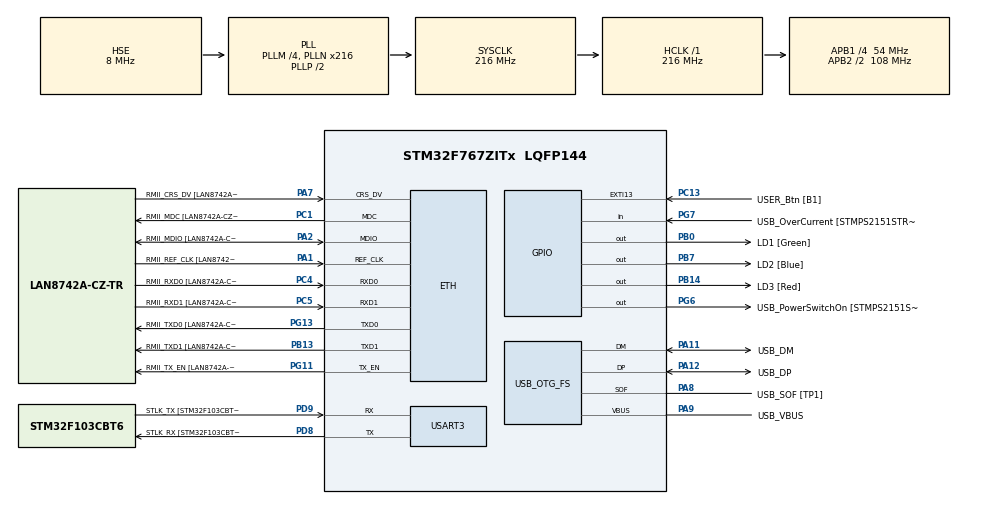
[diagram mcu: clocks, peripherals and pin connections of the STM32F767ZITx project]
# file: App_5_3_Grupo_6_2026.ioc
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CORTEX_M7.default_mode_Activation=1
ETH.MediaInterface=HAL_ETH_RMII_MODE
ETH.PHY_Name=LAN8742A_PHY_ADDRESS
ETH.PHY_Value=0
ETH.PhyAddress=0
Mcu.Family=STM32F7
Mcu.Name=STM32F767ZITx
Mcu.Package=LQFP144
NVIC.PriorityGroup=NVIC_PRIORITYGROUP_4
PA1.GPIO_Label=RMII_REF_CLK [LAN8742A-CZ-TR_REFCLK0]
PA1.Mode=RMII
PA1.Signal=ETH_REF_CLK
PA10.GPIO_Label=USB_ID
PA10.Signal=USB_OTG_FS_ID
PA11.GPIO_Label=USB_DM
PA11.Mode=Device_Only
PA11.Signal=USB_OTG_FS_DM
PA12.GPIO_Label=USB_DP
PA12.Mode=Device_Only
PA12.Signal=USB_OTG_FS_DP
PA13.GPIO_Label=TMS
PA13.Mode=Serial_Wire
PA13.Signal=SYS_JTMS-SWDIO
PA14.GPIO_Label=TCK
PA14.Mode=Serial_Wire
PA14.Signal=SYS_JTCK-SWCLK
PA2.GPIO_Label=RMII_MDIO [LAN8742A-CZ-TR_MDIO]
PA2.Mode=RMII
PA2.Signal=ETH_MDIO
PA7.GPIO_Label=RMII_CRS_DV [LAN8742A-CZ-TR_CRS_DV]
PA7.Mode=RMII
PA7.Signal=ETH_CRS_DV
PA8.GPIO_Label=USB_SOF [TP1]
PA8.Mode=Activate_SOF_FS
PA8.Signal=USB_OTG_FS_SOF
PA9.GPIO_Label=USB_VBUS
PA9.Mode=Activate_VBUS
PA9.Signal=USB_OTG_FS_VBUS
PB0.GPIO_Label=LD1 [Green]
PB0.Signal=GPIO_Output
PB13.GPIO_Label=RMII_TXD1 [LAN8742A-CZ-TR_TXD1]
PB13.Mode=RMII
PB13.Signal=ETH_TXD1
PB14.GPIO_Label=LD3 [Red]
PB14.Signal=GPIO_Output
PB3.GPIO_Label=SWO
PB3.Signal=SYS_JTDO-SWO
PB7.GPIO_Label=LD2 [Blue]
PB7.Signal=GPIO_Output
PC1.GPIO_Label=RMII_MDC [LAN8742A-CZ-TR_MDC]
PC1.Mode=RMII
PC1.Signal=ETH_MDC
PC13.GPIO_Label=USER_Btn [B1]
PC13.Signal=GPXTI13
PC14/OSC32_IN.Mode=LSE-External-Oscillator
PC14/OSC32_IN.Signal=RCC_OSC32_IN
PC15/OSC32_OUT.Mode=LSE-External-Oscillator
PC15/OSC32_OUT.Signal=RCC_OSC32_OUT
PC4.GPIO_Label=RMII_RXD0 [LAN8742A-CZ-TR_RXD0]
PC4.Mode=RMII
PC4.Signal=ETH_RXD0
PC5.GPIO_Label=RMII_RXD1 [LAN8742A-CZ-TR_RXD1]
PC5.Mode=RMII
PC5.Signal=ETH_RXD1
PD8.GPIO_Label=STLK_RX [STM32F103CBT6_PA3]
PD8.Mode=Asynchronous
PD8.Signal=USART3_TX
PD9.GPIO_Label=STLK_TX [STM32F103CBT6_PA2]
PD9.Mode=Asynchronous
PD9.Signal=USART3_RX
PG11.GPIO_Label=RMII_TX_EN [LAN8742A-CZ-TR_TXEN]
PG11.Mode=RMII
PG11.Signal=ETH_TX_EN
PG13.GPIO_Label=RMII_TXD0 [LAN8742A-CZ-TR_TXD0]
PG13.Mode=RMII
PG13.Signal=ETH_TXD0
PG6.GPIO_Label=USB_PowerSwitchOn [STMPS2151STR_EN]
PG6.Signal=GPIO_Output
PG7.GPIO_Label=USB_OverCurrent [STMPS2151STR_FAULT]
PG7.Signal=GPIO_Input
PH0/OSC_IN.GPIO_Label=MCO [STM32F103CBT6_PA8]
PH0/OSC_IN.Mode=HSE-External-Clock-Source
PH0/OSC_IN.Signal=RCC_OSC_IN
PH1/OSC_OUT.Mode=HSE-External-Clock-Source
PH1/OSC_OUT.Signal=RCC_OSC_OUT
ProjectManager.HeapSize=0x200
ProjectManager.StackSize=0x400
ProjectManager.TargetToolchain=STM32CubeIDE
RCC.48MHZClocksFreq_Value=24000000
RCC.AHBFreq_Value=216000000
RCC.APB1CLKDivider=RCC_HCLK_DIV4
RCC.APB1Freq_Value=54000000
RCC.APB1TimFreq_Value=108000000
RCC.APB2CLKDivider=RCC_HCLK_DIV2
RCC.APB2Freq_Value=108000000
RCC.APB2TimFreq_Value=216000000
RCC.CortexFreq_Value=216000000
RCC.HCLKFreq_Value=216000000
RCC.HSE_VALUE=8000000
RCC.HSI_VALUE=16000000
RCC.PLLM=4
RCC.PLLMUL=RCC_PLL_MUL9
RCC.PLLN=216
RCC.PLLQ=9
RCC.PRESCALERUSB=RCC_USBCLKSOURCE_PLL_DIV1_5
RCC.SYSCLKFreq_VALUE=216000000
RCC.SYSCLKSource=RCC_SYSCLKSOURCE_PLLCLK
RCC.SYSCLKSourceVirtual=RCC_SYSCLKSOURCE_PLLCLK
RCC.USBFreq_Value=48000000
RCC.VCOOutputFreq_Value=432000000
USART3.VirtualMode-Asynchronous=VM_ASYNC
USB_OTG_FS.VirtualMode=Device_Only
board=NUCLEO-F767ZI

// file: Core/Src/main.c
/* USER CODE BEGIN Header */
/**
 * @file    main.c
 * @author  Mayol Federico (UTN FRT) - Grupo 6
 * @brief   App 5.3: cuatro secuencias de LEDs seleccionables con el pulsador.
 * @details AFP 5 - Tecnicas Digitales II - 2026. Placa NUCLEO-F767ZI.
 *          Usa los drivers API_GPIO, API_delay y API_debounce.
 *          Cada pulsacion valida pasa a la secuencia siguiente:
 *            Secuencia 1: LED1 -> LED2 -> LED3, T_ON encendido y T_OFF apagado.
 *            Secuencia 2: los tres LEDs parpadean juntos cada T_SEQ2.
 *            Secuencia 3: cada LED parpadea con su propio tiempo.
 *            Secuencia 4: LED1 y LED3 juntos y LED2 en oposicion, cada T_SEQ4.
 * @version 1.0
 * @date    2026
 */
/* USER CODE END Header */
#include "main.h"
#include "string.h"

/* USER CODE BEGIN Includes */
#include "API_GPIO.h"
#include "API_delay.h"
#include "API_debounce.h"
/* USER CODE END Includes */

/* USER CODE BEGIN PD */
#define LED1 LD1_Pin   /* LED verde */
#define LED2 LD2_Pin   /* LED azul  */
#define LED3 LD3_Pin   /* LED rojo  */

#define CANT_LEDS       3   /* Cantidad de LEDs del vector LEDS */
#define CANT_SECUENCIAS 4   /* Cantidad de secuencias seleccionables */

/* Tiempos en ms */
#define T_ON        150   /* Secuencia 1: tiempo encendido */
#define T_OFF       150   /* Secuencia 1: tiempo apagado */
#define T_SEQ2      300   /* Secuencia 2: alternancia de los tres LEDs */
#define T_SEQ3_LED1 100   /* Secuencia 3: alternancia del LED1 */
#define T_SEQ3_LED2 300   /* Secuencia 3: alternancia del LED2 */
#define T_SEQ3_LED3 600   /* Secuencia 3: alternancia del LED3 */
#define T_SEQ4      150   /* Secuencia 4: alternancia */
/* USER CODE END PD */

#if defined ( __ICCARM__ ) /*!< IAR Compiler */
#pragma location=0x2007c000
ETH_DMADescTypeDef  DMARxDscrTab[ETH_RX_DESC_CNT]; /* Ethernet Rx DMA Descriptors */
#pragma location=0x2007c0a0
ETH_DMADescTypeDef  DMATxDscrTab[ETH_TX_DESC_CNT]; /* Ethernet Tx DMA Descriptors */

#elif defined ( __CC_ARM )  /* MDK ARM Compiler */

__attribute__((at(0x2007c000))) ETH_DMADescTypeDef  DMARxDscrTab[ETH_RX_DESC_CNT]; /* Ethernet Rx DMA Descriptors */
__attribute__((at(0x2007c0a0))) ETH_DMADescTypeDef  DMATxDscrTab[ETH_TX_DESC_CNT]; /* Ethernet Tx DMA Descriptors */

#elif defined ( __GNUC__ ) /* GNU Compiler */

ETH_DMADescTypeDef DMARxDscrTab[ETH_RX_DESC_CNT] __attribute__((section(".RxDecripSection"))); /* Ethernet Rx DMA Descriptors */
ETH_DMADescTypeDef DMATxDscrTab[ETH_TX_DESC_CNT] __attribute__((section(".TxDecripSection")));   /* Ethernet Tx DMA Descriptors */
#endif

ETH_TxPacketConfig TxConfig;

ETH_HandleTypeDef heth;

UART_HandleTypeDef huart3;

PCD_HandleTypeDef hpcd_USB_OTG_FS;

/* USER CODE BEGIN PV */
led_t LEDS[CANT_LEDS] = {LED1, LED2, LED3};   /* Vector de LEDs */

int8_t indiceLed = 0;            /* LED actual dentro de LEDS */
bool_t ledEncendido = true;      /* Fase del LED actual en la secuencia 1 */
uint8_t secuenciaActual = 0;     /* Secuencia en ejecucion: 0 a CANT_SECUENCIAS - 1 */

delay_t delayLeds;               /* Retardo principal (secuencias 1, 2 y 4) */
delay_t delayLed1;               /* Retardo del LED1 (secuencia 3) */
delay_t delayLed2;               /* Retardo del LED2 (secuencia 3) */
delay_t delayLed3;               /* Retardo del LED3 (secuencia 3) */
/* USER CODE END PV */

void SystemClock_Config(void);
static void MPU_Config(void);
static void MX_ETH_Init(void);
static void MX_USART3_UART_Init(void);
static void MX_USB_OTG_FS_PCD_Init(void);
/* USER CODE BEGIN PFP */
void iniciarSecuencia(void);
void actualizarSecuencia(void);
/* USER CODE END PFP */

/* USER CODE BEGIN 0 */
/**
 * @brief  Apaga los LEDs y deja lista la secuencia indicada por secuenciaActual.
 * @param  None
 * @retval None
 */
void iniciarSecuencia(void)
{
	for (indiceLed = 0; indiceLed < CANT_LEDS; indiceLed++)
	{
		writeLedOff_GPIO(LEDS[indiceLed]);
	}
	indiceLed = 0;

	switch (secuenciaActual)
	{
	case 0:   /* Secuencia 1: arranca con LED1 encendido */
		writeLedOn_GPIO(LEDS[indiceLed]);
		ledEncendido = true;
		delayInit(&delayLeds, T_ON);
		break;

	case 1:   /* Secuencia 2 */
		delayInit(&delayLeds, T_SEQ2);
		break;

	case 2:   /* Secuencia 3 */
		delayInit(&delayLed1, T_SEQ3_LED1);
		delayInit(&delayLed2, T_SEQ3_LED2);
		delayInit(&delayLed3, T_SEQ3_LED3);
		break;

	case 3:   /* Secuencia 4: LED1 y LED3 encendidos, LED2 apagado */
		writeLedOn_GPIO(LED1);
		writeLedOn_GPIO(LED3);
		delayInit(&delayLeds, T_SEQ4);
		break;

	default:
		secuenciaActual = 0;
		break;
	}
}

/**
 * @brief  Ejecuta un paso de la secuencia actual. No bloquea.
 * @param  None
 * @retval None
 */
void actualizarSecuencia(void)
{
	switch (secuenciaActual)
	{
	case 0:   /* Secuencia 1: un LED por vez, T_ON encendido y T_OFF apagado */
		if (delayRead(&delayLeds))
		{
			if (ledEncendido)
			{
				writeLedOff_GPIO(LEDS[indiceLed]);
				ledEncendido = false;
				delayWrite(&delayLeds, T_OFF);
			}
			else
			{
				indiceLed++;
				if (indiceLed >= CANT_LEDS)
				{
					indiceLed = 0;
				}
				writeLedOn_GPIO(LEDS[indiceLed]);
				ledEncendido = true;
				delayWrite(&delayLeds, T_ON);
			}
		}
		break;

	case 1:   /* Secuencia 2: los tres LEDs parpadean juntos */
		if (delayRead(&delayLeds))
		{
			toggleLed_GPIO(LED1 | LED2 | LED3);
		}
		break;

	case 2:   /* Secuencia 3: cada LED con su propio tiempo */
		if (delayRead(&delayLed1))
		{
			toggleLed_GPIO(LED1);
		}
		if (delayRead(&delayLed2))
		{
			toggleLed_GPIO(LED2);
		}
		if (delayRead(&delayLed3))
		{
			toggleLed_GPIO(LED3);
		}
		break;

	case 3:   /* Secuencia 4: LED1 y LED3 juntos, LED2 en oposicion */
		if (delayRead(&delayLeds))
		{
			toggleLed_GPIO(LED1 | LED2 | LED3);
		}
		break;

	default:
		secuenciaActual = 0;
		iniciarSecuencia();
		break;
	}
}
/* USER CODE END 0 */

int main(void)
{

  /* MPU Configuration--------------------------------------------------------*/
  MPU_Config();

  /* MCU Configuration--------------------------------------------------------*/

  /* Reset of all peripherals, Initializes the Flash interface and the Systick. */
  HAL_Init();

  /* Configure the system clock */
  SystemClock_Config();

  /* Initialize all configured peripherals */
  MX_GPIO_Init();
  MX_ETH_Init();
  MX_USART3_UART_Init();
  MX_USB_OTG_FS_PCD_Init();
  /* USER CODE BEGIN 2 */
  debounceFSM_init();
  iniciarSecuencia();
  /* USER CODE END 2 */

  /* Infinite loop */
  while (1)
  {

    /* USER CODE BEGIN 3 */
    /* 1. Pulsador: se filtra con la MEF antirrebote */
    debounceFSM_update(readButton_GPIO());

    /* 2. Cada pulsacion valida pasa a la secuencia siguiente */
    if (readKey())
    {
      secuenciaActual++;
      if (secuenciaActual >= CANT_SECUENCIAS)
      {
        secuenciaActual = 0;
      }
      iniciarSecuencia();
    }

    /* 3. Secuencia de LEDs, sin bloquear*/
    actualizarSecuencia();
  }
  /* USER CODE END 3 */
}

void SystemClock_Config(void)
{
  RCC_OscInitTypeDef RCC_OscInitStruct = {0};
  RCC_ClkInitTypeDef RCC_ClkInitStruct = {0};

  /** Configure LSE Drive Capability
  */
  HAL_PWR_EnableBkUpAccess();

  /** Configure the main internal regulator output voltage
  */
  __HAL_RCC_PWR_CLK_ENABLE();
  __HAL_PWR_VOLTAGESCALING_CONFIG(PWR_REGULATOR_VOLTAGE_SCALE1);

  /** Initializes the RCC Oscillators according to the specified parameters
  * in the RCC_OscInitTypeDef structure.
  */
  RCC_OscInitStruct.OscillatorType = RCC_OSCILLATORTYPE_HSE;
  RCC_OscInitStruct.HSEState = RCC_HSE_BYPASS;
  RCC_OscInitStruct.PLL.PLLState = RCC_PLL_ON;
  RCC_OscInitStruct.PLL.PLLSource = RCC_PLLSOURCE_HSE;
  RCC_OscInitStruct.PLL.PLLM = 4;
  RCC_OscInitStruct.PLL.PLLN = 216;
  RCC_OscInitStruct.PLL.PLLP = RCC_PLLP_DIV2;
  RCC_OscInitStruct.PLL.PLLQ = 9;
  RCC_OscInitStruct.PLL.PLLR = 2;
  if (HAL_RCC_OscConfig(&RCC_OscInitStruct) != HAL_OK)
  {
    Error_Handler();
  }

  /** Activate the Over-Drive mode
  */
  if (HAL_PWREx_EnableOverDrive() != HAL_OK)
  {
    Error_Handler();
  }

  /** Initializes the CPU, AHB and APB buses clocks
  */
  RCC_ClkInitStruct.ClockType = RCC_CLOCKTYPE_HCLK|RCC_CLOCKTYPE_SYSCLK
                              |RCC_CLOCKTYPE_PCLK1|RCC_CLOCKTYPE_PCLK2;
  RCC_ClkInitStruct.SYSCLKSource = RCC_SYSCLKSOURCE_PLLCLK;
  RCC_ClkInitStruct.AHBCLKDivider = RCC_SYSCLK_DIV1;
  RCC_ClkInitStruct.APB1CLKDivider = RCC_HCLK_DIV4;
  RCC_ClkInitStruct.APB2CLKDivider = RCC_HCLK_DIV2;

  if (HAL_RCC_ClockConfig(&RCC_ClkInitStruct, FLASH_LATENCY_7) != HAL_OK)
  {
    Error_Handler();
  }
}

static void MX_ETH_Init(void)
{

   static uint8_t MACAddr[6];

  heth.Instance = ETH;
  MACAddr[0] = 0x00;
  MACAddr[1] = 0x80;
  MACAddr[2] = 0xE1;
  MACAddr[3] = 0x00;
  MACAddr[4] = 0x00;
  MACAddr[5] = 0x00;
  heth.Init.MACAddr = &MACAddr[0];
  heth.Init.MediaInterface = HAL_ETH_RMII_MODE;
  heth.Init.TxDesc = DMATxDscrTab;
  heth.Init.RxDesc = DMARxDscrTab;
  heth.Init.RxBuffLen = 1524;

  if (HAL_ETH_Init(&heth) != HAL_OK)
  {
    Error_Handler();
  }

  memset(&TxConfig, 0 , sizeof(ETH_TxPacketConfig));
  TxConfig.Attributes = ETH_TX_PACKETS_FEATURES_CSUM | ETH_TX_PACKETS_FEATURES_CRCPAD;
  TxConfig.ChecksumCtrl = ETH_CHECKSUM_IPHDR_PAYLOAD_INSERT_PHDR_CALC;
  TxConfig.CRCPadCtrl = ETH_CRC_PAD_INSERT;

}

static void MX_USART3_UART_Init(void)
{

  huart3.Instance = USART3;
  huart3.Init.BaudRate = 115200;
  huart3.Init.WordLength = UART_WORDLENGTH_8B;
  huart3.Init.StopBits = UART_STOPBITS_1;
  huart3.Init.Parity = UART_PARITY_NONE;
  huart3.Init.Mode = UART_MODE_TX_RX;
  huart3.Init.HwFlowCtl = UART_HWCONTROL_NONE;
  huart3.Init.OverSampling = UART_OVERSAMPLING_16;
  huart3.Init.OneBitSampling = UART_ONE_BIT_SAMPLE_DISABLE;
  huart3.AdvancedInit.AdvFeatureInit = UART_ADVFEATURE_NO_INIT;
  if (HAL_UART_Init(&huart3) != HAL_OK)
  {
    Error_Handler();
  }

}

static void MX_USB_OTG_FS_PCD_Init(void)
{

  hpcd_USB_OTG_FS.Instance = USB_OTG_FS;
  hpcd_USB_OTG_FS.Init.dev_endpoints = 6;
  hpcd_USB_OTG_FS.Init.speed = PCD_SPEED_FULL;
  hpcd_USB_OTG_FS.Init.dma_enable = DISABLE;
  hpcd_USB_OTG_FS.Init.phy_itface = PCD_PHY_EMBEDDED;
  hpcd_USB_OTG_FS.Init.Sof_enable = ENABLE;
  hpcd_USB_OTG_FS.Init.low_power_enable = DISABLE;
  hpcd_USB_OTG_FS.Init.lpm_enable = DISABLE;
  hpcd_USB_OTG_FS.Init.vbus_sensing_enable = ENABLE;
  hpcd_USB_OTG_FS.Init.use_dedicated_ep1 = DISABLE;
  if (HAL_PCD_Init(&hpcd_USB_OTG_FS) != HAL_OK)
  {
    Error_Handler();
  }

}

 /* MPU Configuration */

void MPU_Config(void)
{
  MPU_Region_InitTypeDef MPU_InitStruct = {0};

  /* Disables the MPU */
  HAL_MPU_Disable();

  /** Initializes and configures the Region and the memory to be protected
  */
  MPU_InitStruct.Enable = MPU_REGION_ENABLE;
  MPU_InitStruct.Number = MPU_REGION_NUMBER0;
  MPU_InitStruct.BaseAddress = 0x0;
  MPU_InitStruct.Size = MPU_REGION_SIZE_4GB;
  MPU_InitStruct.SubRegionDisable = 0x87;
  MPU_InitStruct.TypeExtField = MPU_TEX_LEVEL0;
  MPU_InitStruct.AccessPermission = MPU_REGION_NO_ACCESS;
  MPU_InitStruct.DisableExec = MPU_INSTRUCTION_ACCESS_DISABLE;
  MPU_InitStruct.IsShareable = MPU_ACCESS_SHAREABLE;
  MPU_InitStruct.IsCacheable = MPU_ACCESS_NOT_CACHEABLE;
  MPU_InitStruct.IsBufferable = MPU_ACCESS_NOT_BUFFERABLE;

  HAL_MPU_ConfigRegion(&MPU_InitStruct);
  /* Enables the MPU */
  HAL_MPU_Enable(MPU_PRIVILEGED_DEFAULT);

}

void Error_Handler(void)
{
  __disable_irq();
  while (1)
  {
  }
}
